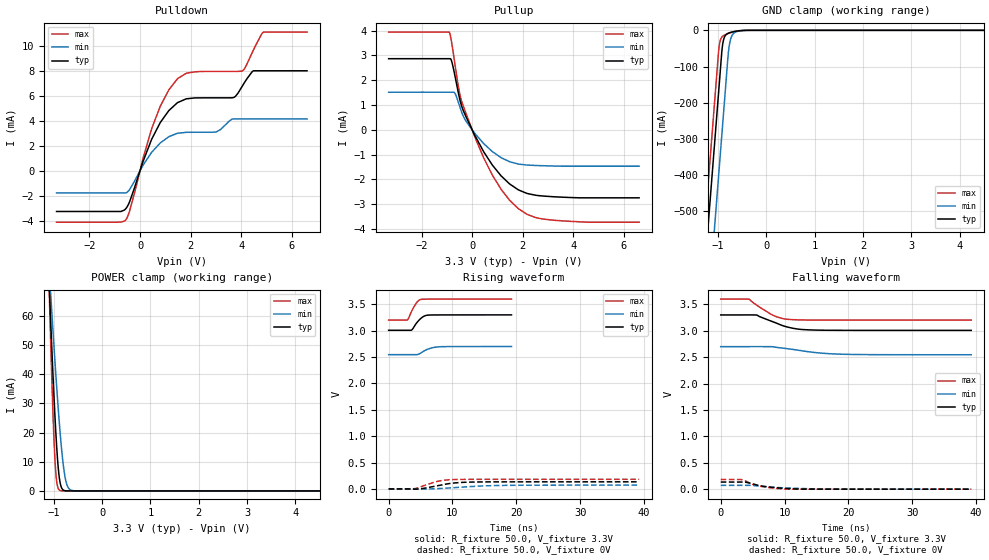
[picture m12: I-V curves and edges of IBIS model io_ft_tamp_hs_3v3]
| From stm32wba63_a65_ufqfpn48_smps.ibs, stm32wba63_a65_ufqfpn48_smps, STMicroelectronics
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[Model]   io_ft_tamp_hs_3v3
Model_type I/O
Polarity   Non-Inverting
Enable   Active-Low
| CAP_THRESHOLD on pad IOFT is "UDTCAPC" :
| Rising=30.0% of vddios   Falling=70.0% of vddios
| C_comp min and max val. don't necessarily correlate with the min and max pvt
| but are the smallest and greatest pad capacitance found.
| var   typ   min   max
C_comp   2.93630pF  2.87256pF  2.96827pF
|C_comp_pullup   1.79826pF  1.68491pF  1.83970pF
|C_comp_pulldown   1.13804pF  1.18765pF  1.12858pF
Vinl = 1.35V
Vinh = 1.8V
Vmeas = 1.65V   | Reference voltage for timing measurements
Cref  = 50.0pF   | Timing specification test load capacitance value
Rref  = 1.0MOhm   | Timing specification test load resistance value
Vref  = 1.815V   | Timing specification test load voltage
[Model Spec]
| TIME_THRESHOLD on pin ZIV11 is "CMOS" :
| Rising=50.0% of vdd   Falling=50.0% of vdd
Vinl 1.29050V 1.08050V 1.37650V
Vinh 1.79850V 1.52050V 1.90250V
| variable   typ   min   max
[Temperature Range] 25.0 140.0 -40.0
| variable   typ   min   max
[Voltage Range] 3.3V 2.7V 3.6V
| variable   typ   min   max
[POWER Clamp Reference] 3.3V 2.7V 3.6V
| variable   typ   min   max
[GND Clamp Reference] 0V 0V 0V
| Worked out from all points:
|   slope of the pulldown table from 0 to 0.495 V, typ, clamps not added: 186 ohm
|   slope of the pullup table from 0 to 0.495 V, typ, clamps not added: 523 ohm
|   GND clamp passes 1 mA (typ) near -0.54 V on its own axis
|   POWER clamp passes 1 mA (typ) near -0.83 V on its own axis
|   rising waveform, R_fixture 50.0, V_fixture 3.3V: 20-80 % time 1.19ns typ, 1.6ns min, 1.03ns max; typ from 3.01 V to 3.3 V
|   falling waveform, R_fixture 50.0, V_fixture 3.3V: 20-80 % time 3.95ns typ, 5.89ns min, 3.18ns max; typ from 3.3 V to 3.01 V
|   rising waveform, R_fixture 50.0, V_fixture 0V: 20-80 % time 3.71ns typ, 6.06ns min, 2.83ns max; typ from 0 V to 0.135 V
|   falling waveform, R_fixture 50.0, V_fixture 0V: 20-80 % time 3.87ns typ, 6.07ns min, 3.09ns max; typ from 0.135 V to 0 V
[POWER Clamp]
-3.3V     1.123A     753mA      1.645A
-1.09V    69.42mA    75.17mA    67.14mA
-1.08V    65.31mA    72.42mA    61.23mA
-1.06V    57.23mA    66.98mA    49.77mA
-1.01V    38.06mA    53.68mA    24.29mA
-970mV    24.36mA    43.46mA    9.575mA
-930mV    13.06mA    33.74mA    2.352mA
-870mV    3.065mA    20.56mA    165.9uA
-810mV    418.4uA    10.06mA    10.3uA
-760mV    69.41uA    4.321mA    1.008uA
-630mV    611nA      197uA      2.689nA
6.6V      0A         0A         0A
[GND Clamp]
-3.3V     -4.108A    -4.338A    -3.993A
-1.47V    -996.5mA   -1.227A    -882.1mA
-1.25V    -622.5mA   -853.4mA   -508.1mA
-990mV    -180.5mA   -411.4mA   -66.09mA
-980mV    -163.5mA   -394.4mA   -51.42mA
-900mV    -38.37mA   -258.4mA   -16.28mA
-860mV    -17.66mA   -190.4mA   -13.03mA
-780mV    -7.657mA   -58.45mA   -8.63mA
-740mV    -5.866mA   -26.35mA   -6.764mA
-690mV    -4.176mA   -10.78mA   -4.712mA
-450mV    -220.4uA   -529.3uA   -129.7uA
6.6V      1.984nA    498.7nA    735.2pA
| variable   typ   min   max
[Pullup Reference] 3.3V 2.7V 3.6V
| variable   typ   min   max
[Pulldown Reference] 0V 0V 0V
[Pullup]
-3.3V     2.869mA    1.518mA    3.942mA
-900mV    2.869mA    1.518mA    3.94mA
-820mV    2.799mA    1.518mA    3.578mA
-690mV    2.232mA    1.492mA    2.716mA
-460mV    1.115mA    847.8uA    1.317mA
-280mV    615.8uA    417.2uA    766uA
120mV     -251.9uA   -160.4uA   -321uA
800mV     -1.423mA   -878.8uA   -1.828mA
1.14V     -1.853mA   -1.12mA    -2.394mA
1.83V     -2.424mA   -1.383mA   -3.184mA
2.85V     -2.675mA   -1.45mA    -3.605mA
6.6V      -2.743mA   -1.466mA   -3.726mA
[Pulldown]
-3.3V     -3.274mA   -1.782mA   -4.133mA
-570mV    -3.064mA   -1.782mA   -3.957mA
-410mV    -2.48mA    -1.511mA   -3.207mA
460mV     2.522mA    1.473mA    3.369mA
800mV     3.858mA    2.222mA    5.168mA
1.48V     5.45mA     2.995mA    7.37mA
3.01V     5.836mA    3.097mA    7.954mA
3.67V     5.848mA    4.142mA    7.954mA
4.04V     6.772mA    4.142mA    7.991mA
4.45V     7.963mA    4.142mA    9.539mA
4.88V     8.002mA    4.142mA    11.1mA
6.6V      8.002mA    4.142mA    11.1mA
[Ramp]
dV/dt_r 80.90324mV/3.7007ns 43.28968mV/6.04832ns 109.86673mV/2.82874ns
dV/dt_f 175.10507mV/3.92924ns 92.30106mV/5.86434ns 238.66588mV/3.18516ns
R_load = 50.0
| Removed startup time: 0s 0s 0s  .
| Removed end time: 19.25ns.
[Rising Waveform]
R_fixture   = 50.0
V_fixture   = 3.3V
V_fixture_min = 2.7V
V_fixture_max = 3.6V
0s        3.008V     2.546V     3.202V
2.95ns    3.008V     2.546V     3.205V
3.15ns    3.008V     2.546V     3.243V
3.6ns     3.013V     2.546V     3.368V
4.25ns    3.125V     2.546V     3.508V
4.7ns     3.192V     2.555V     3.572V
5.1ns     3.239V     2.583V     3.593V
5.95ns    3.292V     2.64V      3.598V
7.9ns     3.299V     2.695V     3.599V
19.25ns   3.3V       2.7V       3.6V
| Removed startup time: 0s 0s 0s  .
| Removed end time: 39.25ns.
[Falling Waveform]
R_fixture   = 50.0
V_fixture   = 3.3V
V_fixture_min = 2.7V
V_fixture_max = 3.6V
0s        3.3V       2.7V       3.6V
4.45ns    3.301V     2.7V       3.597V
5.65ns    3.297V     2.7V       3.484V
8ns       3.179V     2.699V     3.306V
9.45ns    3.109V     2.676V     3.24V
10.45ns   3.071V     2.66V      3.218V
12.85ns   3.024V     2.619V     3.205V
15.25ns   3.012V     2.582V     3.203V
18.45ns   3.009V     2.558V     3.202V
39.25ns   3.008V     2.546V     3.202V
| Removed startup time: 0s 0s 0s  .
| Removed end time: 39.25ns.
[Rising Waveform]
R_fixture   = 50.0
V_fixture   = 0V
V_fixture_min = 0V
V_fixture_max = 0V
0s        79.54nV    353.3nV    261.5nV
3.7ns     -2.245mV   24.78uV    -1.434mV
4.55ns    -1.646mV   -799.7uV   20.77mV
5.4ns     10.46mV    -1.763mV   57.7mV
7.8ns     64.19mV    7.099mV    147.4mV
8.8ns     87.4mV     14mV       166.7mV
10.1ns    111mV      23.43mV    177.4mV
12.85ns   130.1mV    45.23mV    182.5mV
18.45ns   134.7mV    67.83mV    183.1mV
39.25ns   134.8mV    72.15mV    183.1mV
| Removed startup time: 0s 0s 0s  .
| Removed end time: 39.25ns.
[Falling Waveform]
R_fixture   = 50.0
V_fixture   = 0V
V_fixture_min = 0V
V_fixture_max = 0V
0s        134.9mV    72.18mV    183.1mV
3.2ns     134.8mV    72.18mV    181.9mV
3.95ns    130.6mV    72.15mV    152.5mV
4.95ns    102.6mV    69.89mV    92.98mV
6ns       68.52mV    59.16mV    60.61mV
8ns       34.51mV    38.5mV     23.31mV
10.2ns    13.22mV    23.39mV    2.232mV
12.85ns   817.1uV    12.04mV    226.7uV
17.65ns   89.51uV    988.5uV    24.17uV
39.25ns   157.3nV    3.032uV    275.3nV
